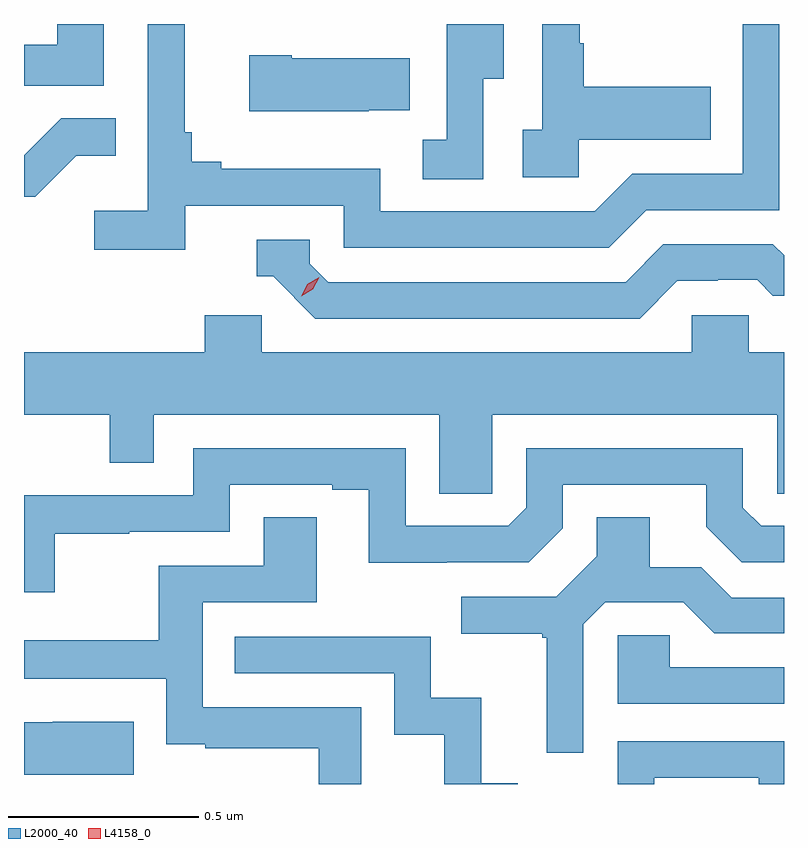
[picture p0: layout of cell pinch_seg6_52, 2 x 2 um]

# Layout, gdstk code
import gdstk
lib = gdstk.Library(unit=1e-6, precision=1e-09)
def P(c, l, *ps):  # polygons
    for p in ps: c.add(gdstk.Polygon(p, *l))
L2000_40 = (2000, 40)
L4158_0 = (4158, 0)

pinch_seg6_52 = lib.new_cell('pinch_seg6_52')
P(pinch_seg6_52, L2000_40, [(986.884,939.04),(986.762,939.04),(986.762,938.986),(986.674,938.986),(986.674,938.877),(986.884,938.877)],
  [(987.882,938.896),(987.937,938.896),(987.937,939.04),(987.785,939.04),(987.785,939.039),(987.786,939.039),(987.786,938.735),(987.723,938.735),(987.723,938.632),(987.882,938.632)],
  [(987.098,938.562),(987.516,938.562),(987.516,938.451),(988.213,938.451),(988.312,938.55),(988.662,938.55),(988.662,939.04),(988.566,939.04),(988.566,938.646),(988.275,938.646),(988.176,938.547),(987.612,938.547),(987.612,938.659),(987.193,938.659),(987.193,938.678),(987.116,938.678),(987.116,938.755),(987.097,938.755),(987.097,939.04),(987,939.04),(987,938.548),(986.859,938.548),(986.859,938.446),(987.098,938.446)],
  [(988.134,938.735),(988.481,938.735),(988.481,938.875),(988.147,938.875),(988.147,938.99),(988.137,938.99),(988.137,939.04),(988.038,939.04),(988.038,938.762),(987.987,938.762),(987.987,938.637),(988.134,938.637)],
  [(987.581,938.813),(987.689,938.813),(987.689,938.95),(987.379,938.95),(987.379,938.958),(987.267,938.958),(987.267,938.81),(987.581,938.81)],
  [(986.811,938.693),(986.915,938.693),(986.915,938.792),(986.772,938.792),(986.674,938.694),(986.674,938.586),(986.704,938.586)],
  [(988.393,938.364),(988.5,938.364),(988.5,938.367),(988.603,938.367),(988.645,938.325),(988.674,938.325),(988.674,938.431),(988.645,938.46),(988.356,938.46),(988.257,938.361),(987.474,938.361),(987.426,938.409),(987.426,938.472),(987.287,938.472),(987.287,938.376),(987.33,938.376),(987.441,938.265),(988.294,938.265)],
  [(987.906,938.012),(988.656,938.012),(988.656,937.804),(988.674,937.804),(988.674,938.176),(988.581,938.176),(988.581,938.274),(988.431,938.274),(988.431,938.176),(987.3,938.176),(987.3,938.274),(987.149,938.274),(987.149,938.176),(986.674,938.176),(986.674,938.012),(986.899,938.012),(986.899,937.885),(987.015,937.885),(987.015,938.012),(987.767,938.012),(987.767,937.804),(987.906,937.804)],
  [(986.755,937.699),(986.951,937.699),(986.951,937.704),(987.216,937.704),(987.216,937.827),(987.485,937.827),(987.485,937.815),(987.581,937.815),(987.581,937.622),(987.786,937.622),(987.786,937.623),(988.002,937.623),(988.092,937.713),(988.092,937.827),(988.469,937.827),(988.469,937.717),(988.563,937.623),(988.674,937.623),(988.674,937.719),(988.614,937.719),(988.566,937.767),(988.566,937.923),(987.996,937.923),(987.996,937.767),(987.948,937.719),(987.678,937.719),(987.678,937.923),(987.12,937.923),(987.12,937.8),(986.674,937.8),(986.674,937.544),(986.755,937.544)],
  [(987.561,937.242),(987.144,937.242),(987.144,937.518),(987.445,937.518),(987.445,937.742),(987.305,937.742),(987.305,937.614),(987.028,937.614),(987.028,937.418),(986.674,937.418),(986.674,937.317),(987.048,937.317),(987.048,937.145),(987.151,937.145),(987.151,937.134),(987.45,937.134),(987.45,937.04),(987.561,937.04)],
  [(988.146,937.461),(988.203,937.518),(988.409,937.518),(988.49,937.437),(988.674,937.437),(988.674,937.53),(988.536,937.53),(988.456,937.61),(988.321,937.61),(988.321,937.742),(988.181,937.742),(988.181,937.64),(988.074,937.533),(987.825,937.533),(987.825,937.436),(988.038,937.436),(988.038,937.425),(988.049,937.425),(988.049,937.122),(988.146,937.122)],
  [(988.674,937.347),(988.373,937.347),(988.373,937.431),(988.236,937.431),(988.236,937.251),(988.674,937.251)],
  [(987.973,937.042),(987.877,937.042),(987.877,937.267),(987.744,937.267),(987.744,937.428),(987.229,937.428),(987.229,937.332),(987.648,937.332),(987.648,937.169),(987.78,937.169),(987.78,937.04),(987.973,937.04)],
  [(986.963,937.204),(986.749,937.204),(986.749,937.203),(986.674,937.203),(986.674,937.064),(986.963,937.064)],
  [(988.332,937.056),(988.608,937.056),(988.608,937.04),(988.674,937.04),(988.674,937.152),(988.236,937.152),(988.236,937.04),(988.332,937.04)])
P(pinch_seg6_52, L4158_0, [(987.403,938.323),(987.403,938.323),(987.42,938.355),(987.451,938.374),(987.451,938.374),(987.451,938.374),(987.434,938.342),(987.403,938.323)])

lib.write_gds('pinch_seg6_52.gds')
